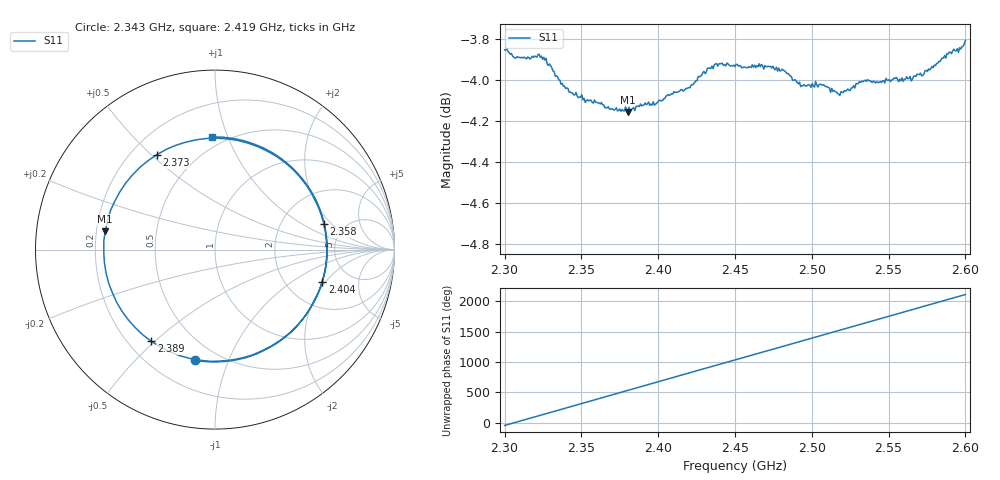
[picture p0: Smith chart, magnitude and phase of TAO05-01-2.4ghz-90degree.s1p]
! NanoVNA-App
! Date: 2026-05-22 15:30:48
! Start: 2.3GHz Stop: 2.6GHz Points: 401
! S-Parameter data: F S11
# Hz S RI R 50
!  Frequency  S11_Real  S11_Imag
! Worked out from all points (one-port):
!   401 points, 2.3 GHz to 2.6 GHz, reference 50 ohm
!   lowest |S11| = -4.2 dB at 2.38 GHz (marker M1), VSWR 4.26, Z = 11.8 + j3.88 ohm
!   |S11| at or under -10 dB: nowhere
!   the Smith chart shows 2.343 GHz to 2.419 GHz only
!   S11 on the Smith chart (normalised r, x): 2.343 GHz: 0.37, -0.76; 2.358 GHz: 3.50, +1.63; 2.373 GHz: 0.30, +0.52; 2.389 GHz: 0.29, -0.49; 2.404 GHz: 3.17, -1.84; 2.419 GHz: 0.43, +0.88
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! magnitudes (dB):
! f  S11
! 2.3 GHz  -3.9
! 2.307 GHz  -3.9
! 2.325 GHz  -3.9
! 2.337 GHz  -4.0
! 2.343 GHz  -4.1
! 2.358 GHz  -4.1
! 2.373 GHz  -4.2
! 2.375 GHz  -4.1
! 2.38 GHz  -4.2
! 2.389 GHz  -4.1
! 2.404 GHz  -4.1
! 2.413 GHz  -4.1
! 2.419 GHz  -4.0
! 2.437 GHz  -3.9
! 2.45 GHz  -3.9
! 2.473 GHz  -3.9
! 2.482 GHz  -4.0
! 2.487 GHz  -4.0
! 2.494 GHz  -4.0
! 2.506 GHz  -4.0
! 2.517 GHz  -4.1
! 2.525 GHz  -4.1
! 2.535 GHz  -4.0
! 2.562 GHz  -4.0
! 2.573 GHz  -4.0
! 2.59 GHz  -3.9
! 2.597 GHz  -3.9
! 2.6 GHz  -3.8
